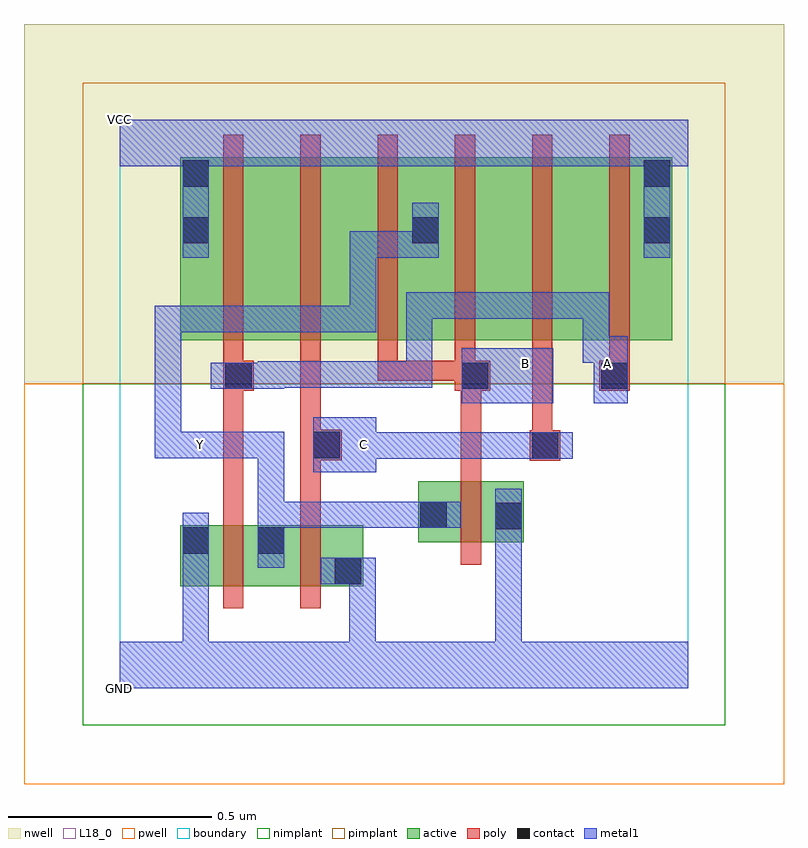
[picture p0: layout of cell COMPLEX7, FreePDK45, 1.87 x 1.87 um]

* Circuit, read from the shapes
.subckt COMPLEX7 A B C GND VCC Y
M1 Y A GND VSUBS nfet w=0.15u l=0.05u
M2 GND C Y VSUBS nfet w=0.15u l=0.05u
M3 GND B Y VSUBS nfet w=0.15u l=0.05u
M4 n1 A VCC n2 pfet w=0.45u l=0.05u
M5 n3 C n1 n2 pfet w=0.45u l=0.05u
M6 Y B n3 n2 pfet w=0.45u l=0.05u
M7 n4 B Y n2 pfet w=0.45u l=0.05u
M8 n5 C n4 n2 pfet w=0.45u l=0.05u
M9 VCC A n5 n2 pfet w=0.45u l=0.05u
.ends

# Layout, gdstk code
import gdstk
lib = gdstk.Library(unit=1e-6, precision=1e-09)
def R(c, l, rs):  # rectangles x0, y0, x1, y1
    for r in rs: c.add(gdstk.rectangle(r[:2], r[2:], *l))
def A(c, l, x, y, w, h, nx, ny, dx, dy):  # array of equal rectangles
    R(c, l, [(x+i*dx, y+j*dy, x+i*dx+w, y+j*dy+h) for i in range(nx) for j in range(ny)])
active = (1, 0)
pwell = (2, 0)
nwell = (3, 0)
nimplant = (4, 0)
pimplant = (5, 0)
poly = (9, 0)
contact = (10, 0)
metal1 = (11, 0)
L18_0 = (18, 0)
boundary = (235, 0)

complex7 = lib.new_cell('COMPLEX7')
R(complex7, active, [(0.15,0.252,0.41,0.402), (0.15,0.252,0.225,0.402), (0.335,0.252,0.41,0.402), (0.335,0.252,0.6,0.402), (0.525,0.252,0.6,0.402), (0.735,0.36,0.995,0.51), (0.92,0.387,0.995,0.51), (0.735,0.39,0.81,0.51), (0.15,0.857,0.225,1.305), (0.15,0.857,0.375,1.307), (0.375,0.857,0.565,1.307), (0.565,0.857,0.79,1.307), (0.715,0.857,0.945,1.307), (0.715,0.857,0.79,1.2), (0.945,0.857,1.135,1.307), (1.135,0.857,1.36,1.307), (1.285,0.857,1.36,1.305)])
R(complex7, pwell, [(-0.235,-0.235,1.635,0.75)])
R(complex7, nwell, [(-0.235,0.75,1.635,1.635)])
R(complex7, nimplant, [(-0.09,-0.09,1.49,0.75)])
R(complex7, pimplant, [(-0.09,0.75,1.49,1.49)])
A(complex7, poly, 0.255, 0.802, 0.05, 0.56, 6, 1, 0.19, 0)
R(complex7, poly, [(0.255,0.197,0.305,0.457), (0.445,0.197,0.495,0.457), (0.84,0.305,0.89,0.565), (0.255,0.407,0.305,0.782), (0.445,0.407,0.495,0.612), (0.84,0.515,0.89,0.782), (1.01,0.56,1.085,0.635), (0.445,0.562,0.547,0.637), (1.015,0.585,1.065,0.852), (1.015,0.585,1.065,0.635), (1.015,0.585,1.065,0.635), (0.445,0.587,0.495,0.637), (0.445,0.587,0.495,0.637), (0.445,0.587,0.495,0.852), (0.255,0.732,0.33,0.807), (0.255,0.732,0.305,0.782), (0.255,0.732,0.305,0.782), (0.825,0.732,0.912,0.807), (0.84,0.732,0.89,0.782), (0.84,0.732,0.89,0.782), (1.18,0.732,1.255,0.807), (0.255,0.757,0.305,0.852), (0.635,0.757,0.685,0.852), (0.635,0.757,0.685,0.807), (0.635,0.757,0.875,0.807), (0.825,0.757,0.875,0.852), (0.825,0.757,0.875,0.807), (0.825,0.757,0.875,0.807), (1.205,0.757,1.255,0.852)])
R(complex7, contact, [(0.53,0.257,0.595,0.322), (0.155,0.332,0.22,0.397), (0.34,0.332,0.405,0.397), (0.925,0.392,0.99,0.457), (0.74,0.395,0.805,0.46), (1.015,0.565,1.08,0.63), (0.477,0.567,0.542,0.632), (0.26,0.737,0.325,0.802), (0.842,0.737,0.907,0.802), (1.185,0.737,1.25,0.802), (0.155,1.095,0.22,1.16), (0.72,1.095,0.785,1.16), (1.29,1.095,1.355,1.16), (0.155,1.235,0.22,1.3), (1.29,1.235,1.355,1.3)])
R(complex7, metal1, [(0,0,1.4,0.115), (0.155,0.05,0.22,0.115), (0.155,0.05,0.22,0.115), (0.155,0.05,0.22,0.362), (0.565,0.05,0.63,0.115), (0.565,0.05,0.63,0.115), (0.565,0.05,0.63,0.115), (0.565,0.05,0.63,0.115), (0.565,0.05,0.63,0.322), (0.925,0.05,0.99,0.422), (0.495,0.257,0.63,0.322), (0.155,0.297,0.22,0.362), (0.155,0.297,0.22,0.362), (0.155,0.297,0.22,0.432), (0.34,0.297,0.405,0.46), (0.925,0.357,0.99,0.422), (0.925,0.357,0.99,0.422), (0.925,0.357,0.99,0.422), (0.925,0.357,0.99,0.422), (0.925,0.357,0.99,0.492), (0.34,0.395,0.632,0.46), (0.34,0.395,0.405,0.632), (0.567,0.395,0.632,0.46), (0.567,0.395,0.632,0.46), (0.567,0.395,0.632,0.46), (0.567,0.395,0.77,0.46), (0.705,0.395,0.77,0.46), (0.705,0.395,0.77,0.46), (0.705,0.395,0.84,0.46), (0.477,0.532,0.632,0.667), (0.567,0.565,0.632,0.63), (0.567,0.565,0.632,0.63), (0.567,0.565,0.77,0.63), (0.705,0.565,0.77,0.63), (0.705,0.565,0.77,0.63), (0.705,0.565,0.77,0.63), (0.705,0.565,0.907,0.63), (0.842,0.565,0.907,0.63), (0.842,0.565,0.907,0.63), (0.842,0.565,0.907,0.63), (0.842,0.565,1.045,0.63), (0.98,0.565,1.115,0.63), (0.087,0.567,0.152,0.632), (0.087,0.567,0.152,0.632), (0.087,0.567,0.152,0.942), (0.087,0.567,0.267,0.632), (0.202,0.567,0.267,0.632), (0.202,0.567,0.267,0.632), (0.202,0.567,0.405,0.632), (0.34,0.567,0.405,0.632), (0.842,0.702,1.067,0.837), (1.167,0.702,1.25,0.867), (0.225,0.737,0.36,0.802), (0.295,0.737,0.405,0.802), (0.34,0.737,0.405,0.805), (0.34,0.74,0.632,0.805), (0.567,0.74,0.632,0.805), (0.567,0.74,0.632,0.805), (0.567,0.74,0.632,0.805), (0.567,0.74,0.77,0.805), (0.705,0.74,0.77,0.805), (0.705,0.74,0.77,0.805), (0.705,0.74,0.77,0.805), (0.705,0.74,0.77,0.975), (1.14,0.802,1.232,0.867), (1.14,0.802,1.205,0.975), (1.14,0.802,1.205,0.867), (0.087,0.877,0.152,0.942), (0.087,0.877,0.152,0.942), (0.087,0.877,0.152,0.942), (0.087,0.877,0.405,0.942), (0.34,0.877,0.405,0.942), (0.34,0.877,0.632,0.942), (0.567,0.877,0.632,0.942), (0.567,0.877,0.632,0.942), (0.567,0.877,0.632,0.942), (0.567,0.877,0.632,1.125), (0.705,0.91,0.77,0.975), (0.705,0.91,0.907,0.975), (0.842,0.91,0.907,0.975), (0.842,0.91,1.045,0.975), (0.98,0.91,1.205,0.975), (0.98,0.91,1.045,0.975), (0.98,0.91,1.045,0.975), (0.98,0.91,1.045,0.975), (1.14,0.91,1.205,0.975), (0.155,1.06,0.22,1.335), (0.567,1.06,0.632,1.125), (0.567,1.06,0.77,1.125), (0.705,1.06,0.77,1.125), (0.705,1.06,0.785,1.125), (0.72,1.06,0.785,1.195), (1.29,1.06,1.355,1.335), (0.155,1.27,0.22,1.35), (1.29,1.27,1.355,1.35), (0,1.285,1.4,1.4)])
R(complex7, L18_0, [(0,0,1.4,0.115), (0.155,0.05,0.22,0.115), (0.155,0.05,0.22,0.115), (0.155,0.05,0.22,0.362), (0.565,0.05,0.63,0.115), (0.565,0.05,0.63,0.115), (0.565,0.05,0.63,0.115), (0.565,0.05,0.63,0.115), (0.565,0.05,0.63,0.322), (0.925,0.05,0.99,0.422), (0.495,0.257,0.63,0.322), (0.155,0.297,0.22,0.362), (0.155,0.297,0.22,0.362), (0.155,0.297,0.22,0.432), (0.34,0.297,0.405,0.46), (0.925,0.357,0.99,0.422), (0.925,0.357,0.99,0.422), (0.925,0.357,0.99,0.422), (0.925,0.357,0.99,0.422), (0.925,0.357,0.99,0.492), (0.34,0.395,0.405,0.632), (0.34,0.395,0.632,0.46), (0.567,0.395,0.632,0.46), (0.567,0.395,0.632,0.46), (0.567,0.395,0.632,0.46), (0.567,0.395,0.77,0.46), (0.705,0.395,0.77,0.46), (0.705,0.395,0.77,0.46), (0.705,0.395,0.84,0.46), (0.477,0.532,0.632,0.667), (0.567,0.565,0.632,0.63), (0.567,0.565,0.632,0.63), (0.567,0.565,0.77,0.63), (0.705,0.565,0.77,0.63), (0.705,0.565,0.77,0.63), (0.705,0.565,0.77,0.63), (0.705,0.565,0.907,0.63), (0.842,0.565,0.907,0.63), (0.842,0.565,0.907,0.63), (0.842,0.565,0.907,0.63), (0.842,0.565,1.045,0.63), (0.98,0.565,1.115,0.63), (0.087,0.567,0.152,0.632), (0.087,0.567,0.152,0.632), (0.087,0.567,0.267,0.632), (0.087,0.567,0.152,0.942), (0.167,0.567,0.232,0.632), (0.202,0.567,0.267,0.632), (0.202,0.567,0.267,0.632), (0.202,0.567,0.405,0.632), (0.34,0.567,0.405,0.632), (0.567,0.567,0.632,0.632), (0.842,0.702,1.067,0.837), (1.167,0.702,1.25,0.867), (0.225,0.737,0.36,0.802), (0.295,0.737,0.405,0.802), (0.34,0.737,0.405,0.805), (0.34,0.74,0.632,0.805), (0.567,0.74,0.632,0.805), (0.567,0.74,0.632,0.805), (0.567,0.74,0.632,0.805), (0.567,0.74,0.77,0.805), (0.705,0.74,0.77,0.805), (0.705,0.74,0.77,0.805), (0.705,0.74,0.77,0.805), (0.705,0.74,0.77,0.975), (0.967,0.767,1.032,0.832), (1.167,0.767,1.232,0.832), (1.14,0.802,1.205,0.867), (1.14,0.802,1.205,0.975), (1.14,0.802,1.232,0.867), (0.087,0.877,0.152,0.942), (0.087,0.877,0.152,0.942), (0.087,0.877,0.152,0.942), (0.087,0.877,0.405,0.942), (0.34,0.877,0.405,0.942), (0.34,0.877,0.632,0.942), (0.567,0.877,0.632,0.942), (0.567,0.877,0.632,0.942), (0.567,0.877,0.632,0.942), (0.567,0.877,0.632,1.125), (0.705,0.91,0.77,0.975), (0.705,0.91,0.907,0.975), (0.842,0.91,0.907,0.975), (0.842,0.91,1.045,0.975), (0.98,0.91,1.045,0.975), (0.98,0.91,1.045,0.975), (0.98,0.91,1.045,0.975), (0.98,0.91,1.205,0.975), (1.14,0.91,1.205,0.975), (0.155,1.06,0.22,1.335), (0.567,1.06,0.632,1.125), (0.567,1.06,0.77,1.125), (0.705,1.06,0.77,1.125), (0.705,1.06,0.785,1.125), (0.72,1.06,0.785,1.195), (1.29,1.06,1.355,1.335), (0.155,1.27,0.22,1.35), (1.29,1.27,1.355,1.35), (0,1.285,1.4,1.4)])
R(complex7, boundary, [(0,0,1.4,1.4)])
complex7.add(gdstk.Label('A', (1.2,0.8), layer=11, texttype=0))
complex7.add(gdstk.Label('B', (1,0.8), layer=11, texttype=0))
complex7.add(gdstk.Label('C', (0.6,0.6), layer=11, texttype=0))
complex7.add(gdstk.Label('Y', (0.2,0.6), layer=11, texttype=0))
complex7.add(gdstk.Label('VCC', (0,1.4), layer=11, texttype=0))
complex7.add(gdstk.Label('GND', (0,0), layer=11, texttype=0))

lib.write_gds('COMPLEX7.gds')
